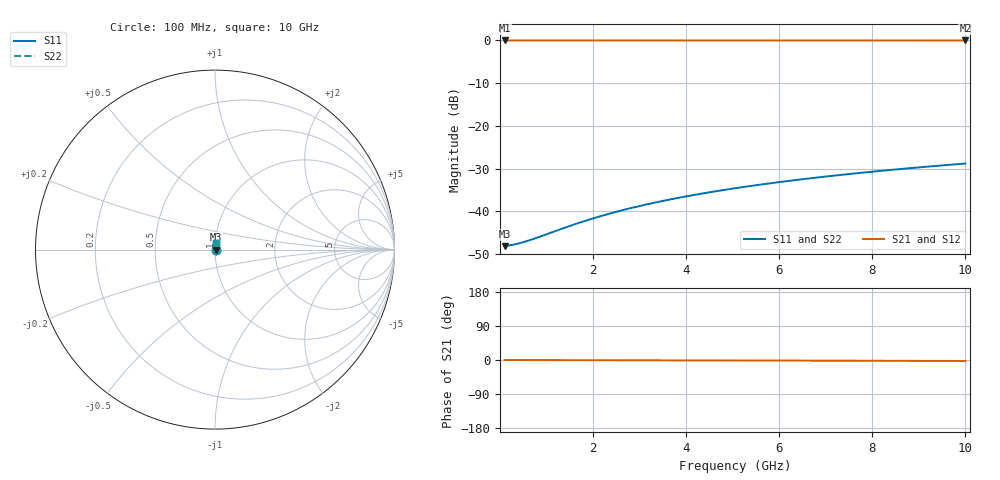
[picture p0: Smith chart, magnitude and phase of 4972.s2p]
# Hz S RI R 50.00
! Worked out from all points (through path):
!   100 points, 100 MHz to 10 GHz, reference 50 ohm
!   highest |S21| = -0.03 dB at 100 MHz (marker M1); lowest = 0.0 dB at 10 GHz (marker M2)
!   lowest |S11| = -48.2 dB at 100 MHz (marker M3), VSWR 1.01, Z = 50.4 + j0.036 ohm
!   |S11| at or under -10 dB: start of sweep to end of sweep
!   |S22| runs from -48.2 to -28.8 dB; largest |S21 - S12| = 0
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1e8  0.00389 0.000357  0.9961 -0.000455  0.9961 -0.000455  0.00389 0.000357
2e8  0.00392 0.000714  0.9961 -0.000909  0.9961 -0.000909  0.00392 0.000714
3e8  0.00394 0.00107  0.9961 -0.00136  0.9961 -0.00136  0.00394 0.00107
4e8  0.00395 0.00143  0.996 -0.00182  0.996 -0.00182  0.00395 0.00143
6e8  0.00398 0.00214  0.996 -0.00273  0.996 -0.00273  0.00398 0.00214
8e8  0.004 0.00285  0.996 -0.00364  0.996 -0.00364  0.004 0.00285
1.4e9  0.00407 0.005  0.9959 -0.00636  0.9959 -0.00636  0.00407 0.005
1.8e9  0.00411 0.00642  0.9959 -0.00818  0.9959 -0.00818  0.00411 0.00642
2.2e9  0.00415 0.00785  0.9958 -0.01  0.9958 -0.01  0.00415 0.00785
2.6e9  0.0042 0.00928  0.9958 -0.0118  0.9958 -0.0118  0.0042 0.00928
3e9  0.00425 0.0107  0.9957 -0.0136  0.9957 -0.0136  0.00425 0.0107
3.4e9  0.00431 0.0121  0.9957 -0.0155  0.9957 -0.0155  0.00431 0.0121
3.8e9  0.00437 0.0136  0.9956 -0.0173  0.9956 -0.0173  0.00437 0.0136
4.2e9  0.00443 0.015  0.9956 -0.0191  0.9956 -0.0191  0.00443 0.015
4.6e9  0.0045 0.0164  0.9955 -0.0209  0.9955 -0.0209  0.0045 0.0164
5.1e9  0.00459 0.0182  0.9954 -0.0232  0.9954 -0.0232  0.00459 0.0182
5.9e9  0.00476 0.0211  0.9952 -0.0268  0.9952 -0.0268  0.00476 0.0211
6.7e9  0.00494 0.0239  0.995 -0.0305  0.995 -0.0305  0.00494 0.0239
7.5e9  0.00514 0.0268  0.9948 -0.0341  0.9948 -0.0341  0.00514 0.0268
8.4e9  0.0054 0.03  0.9946 -0.0382  0.9946 -0.0382  0.0054 0.03
9.2e9  0.00565 0.0329  0.9943 -0.0419  0.9943 -0.0419  0.00565 0.0329
1e10  0.00592 0.0357  0.994 -0.0455  0.994 -0.0455  0.00592 0.0357
